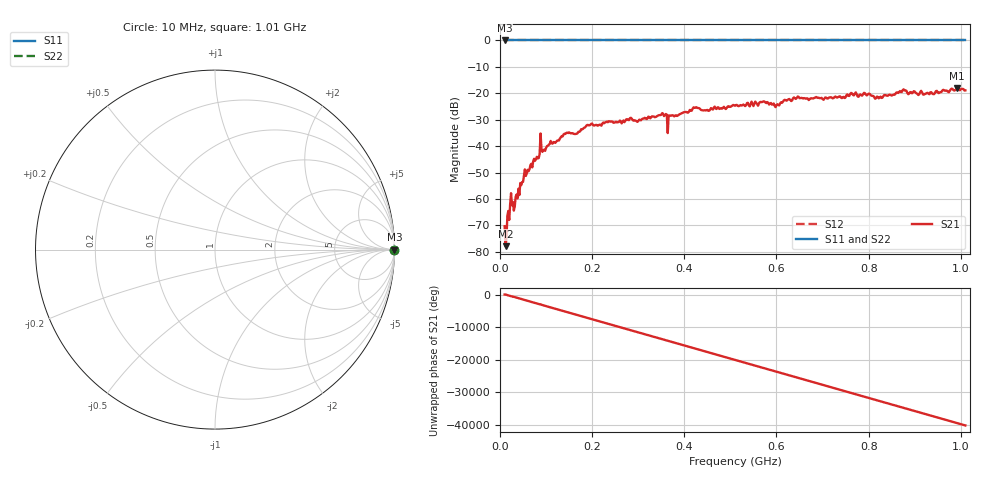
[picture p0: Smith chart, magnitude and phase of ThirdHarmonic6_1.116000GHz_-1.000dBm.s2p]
! 8/16/2025 10:41:06 AM
! C:\ANRITSUVNA\TEMP\TEMP.S2P
! CHANNEL.1
! TR.MEASUREMENT
! RAW.DATA
! RF.CORRECTION.OFF
! AVERAGING.OFF
! IF.BANDWIDTH: 5KHZ
! SWEEPTYPE:  FREQ.SWEEP(Linear)
! Reference Plane Port Info
! PORT:  PORT1  PORT2
! DISTANCE:  0  m  0  m
! TIME:  0  s  0  s
! PHASE.OFFSET:  0  deg.  0  deg.
! LOSS:  0  dB  0  dB
! REF.LOSS:  0  dB  0  dB
! REF.FREQ:  0  Hz  0  Hz
! Power Info
! POWER:  -20  dBm  -20  dBm
! EFF.POWER:  -20  dBm  -20  dBm
! SOURCE.ATTEN:  0  dB  0  dB
! TEST.ATTEN:  0  dB  0  dB
# GHZ S RI R 50.0
! FREQ.GHZ  S11RE  S11IM  S21RE  S21IM  S12RE  S12IM  S22RE  S22IM
!; PortSelection: Port_12
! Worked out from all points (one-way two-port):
!   501 points, 10 MHz to 1.01 GHz, reference 50 ohm
!   highest |S21| = -17.95 dB at 992 MHz (marker M1); lowest = -77.8 dB at 12 MHz (marker M2)
!   lowest |S11| = 0.0 dB at 10 MHz (marker M3)
!   |S11| at or under -10 dB: nowhere
!   |S22| runs from 0.0 to 0.0 dB; largest |S21 - S12| = 1.1
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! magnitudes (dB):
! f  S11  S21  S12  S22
! 10 MHz  0.0  -70.3  0.0  0.0
! 12 MHz  0.0  -77.8  0.0  0.0
! 16 MHz  0.0  -66.5  0.0  0.0
! 20 MHz  0.0  -67.9  0.0  0.0
! 22 MHz  0.0  -62.0  0.0  0.0
! 34 MHz  0.0  -59.1  0.0  0.0
! 56 MHz  0.0  -51.3  0.0  0.0
! 82 MHz  0.0  -44.6  0.0  0.0
! 90 MHz  0.0  -41.0  0.0  0.0
! 96 MHz  0.0  -41.3  0.0  0.0
! 178 MHz  0.0  -33.7  0.0  0.0
! 344 MHz  0.0  -28.3  0.0  0.0
! 368 MHz  0.0  -28.6  0.0  0.0
! 422 MHz  0.0  -25.5  0.0  0.0
! 510 MHz  0.0  -24.7  0.0  0.0
! 570 MHz  0.0  -23.2  0.0  0.0
! 600 MHz  0.0  -24.5  0.0  0.0
! 642 MHz  0.0  -22.1  0.0  0.0
! 678 MHz  0.0  -21.9  0.0  0.0
! 844 MHz  0.0  -20.6  0.0  0.0
! 992 MHz  0.0  -18.0  0.0  0.0
! 1.01 GHz  0.0  -18.9  0.0  0.0
